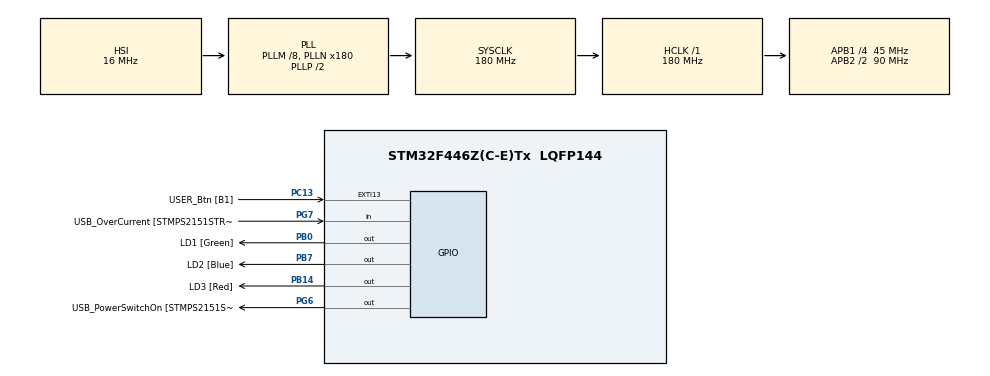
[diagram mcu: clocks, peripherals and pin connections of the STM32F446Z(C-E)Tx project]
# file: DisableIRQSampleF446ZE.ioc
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Mcu.Family=STM32F4
Mcu.Name=STM32F446Z(C-E)Tx
Mcu.Package=LQFP144
NVIC.EXTI15_10_IRQn=true\:1\:0\:true\:false\:true\:true\:true
NVIC.PriorityGroup=NVIC_PRIORITYGROUP_4
NVIC.TIM2_IRQn=true\:2\:0\:true\:false\:true\:true\:true
PA10.GPIO_Label=USB_ID
PA10.Signal=USB_OTG_FS_ID
PA11.GPIO_Label=USB_DM
PA11.Signal=USB_OTG_FS_DM
PA12.GPIO_Label=USB_DP
PA12.Signal=USB_OTG_FS_DP
PA13.GPIO_Label=TMS
PA13.Signal=SYS_JTMS-SWDIO
PA14.GPIO_Label=TCK
PA14.Signal=SYS_JTCK-SWCLK
PA8.GPIO_Label=USB_SOF [TP1]
PA8.Signal=USB_OTG_FS_SOF
PA9.GPIO_Label=USB_VBUS
PA9.Signal=USB_OTG_FS_VBUS
PB0.GPIO_Label=LD1 [Green]
PB0.Signal=GPIO_Output
PB14.GPIO_Label=LD3 [Red]
PB14.Signal=GPIO_Output
PB7.GPIO_Label=LD2 [Blue]
PB7.Signal=GPIO_Output
PC13.GPIO_Label=USER_Btn [B1]
PC13.Signal=GPXTI13
PC14-OSC32_IN.Signal=RCC_OSC32_IN
PC15-OSC32_OUT.Signal=RCC_OSC32_OUT
PD8.GPIO_Label=STLK_RX [STM32F103CBT6_PA3]
PD8.Signal=USART3_TX
PD9.GPIO_Label=STLK_TX [STM32F103CBT6_PA2]
PD9.Signal=USART3_RX
PG6.GPIO_Label=USB_PowerSwitchOn [STMPS2151STR_EN]
PG6.Signal=GPIO_Output
PG7.GPIO_Label=USB_OverCurrent [STMPS2151STR_FAULT]
PG7.Signal=GPIO_Input
PH0-OSC_IN.GPIO_Label=MCO [STM32F103CBT6_PA8]
PH0-OSC_IN.Signal=RCC_OSC_IN
PH1-OSC_OUT.Signal=RCC_OSC_OUT
ProjectManager.HeapSize=0x200
ProjectManager.StackSize=0x400
ProjectManager.TargetToolchain=STM32CubeIDE
RCC.48MHZClocksFreq_Value=24000000
RCC.AHBFreq_Value=180000000
RCC.APB1CLKDivider=RCC_HCLK_DIV4
RCC.APB1Freq_Value=45000000
RCC.APB1TimFreq_Value=90000000
RCC.APB2CLKDivider=RCC_HCLK_DIV2
RCC.APB2Freq_Value=90000000
RCC.APB2TimFreq_Value=180000000
RCC.CortexFreq_Value=180000000
RCC.HCLKFreq_Value=180000000
RCC.HSE_VALUE=8000000
RCC.HSI_VALUE=16000000
RCC.LSE_VALUE=32768
RCC.PLLM=8
RCC.PLLMUL=RCC_PLL_MUL9
RCC.PLLN=180
RCC.PRESCALERUSB=RCC_USBCLKSOURCE_PLL_DIV1_5
RCC.SYSCLKFreq_VALUE=180000000
RCC.SYSCLKSource=RCC_SYSCLKSOURCE_PLLCLK
RCC.SYSCLKSourceVirtual=RCC_SYSCLKSOURCE_PLLCLK
RCC.USBFreq_Value=180000000
RCC.VCOOutputFreq_Value=360000000
TIM2.AutoReloadPreload=TIM_AUTORELOAD_PRELOAD_ENABLE
TIM2.Period=19999
TIM2.Prescaler=44999
VP_TIM2_VS_ClockSourceINT.Mode=Internal
board=NUCLEO-F446ZE

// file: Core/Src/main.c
/* USER CODE BEGIN Header */
/**
  ******************************************************************************
  * @file           : main.c
  * @brief          : Main program body
  ******************************************************************************
  * @attention
  *
  * <h2><center>&copy; Copyright (c) 2019 STMicroelectronics.
  * All rights reserved.</center></h2>
  *
  * This software component is licensed by ST under BSD 3-Clause license,
  * the "License"; You may not use this file except in compliance with the
  * License. You may obtain a copy of the License at:
  *                        opensource.org/licenses/BSD-3-Clause
  *
  ******************************************************************************
  */
/* USER CODE END Header */

#include "main.h"

TIM_HandleTypeDef htim2;

void SystemClock_Config(void);
static void MX_GPIO_Init(void);
static void MX_TIM2_Init(void);

/* USER CODE BEGIN 0 */
__IO uint8_t Pushed;
/* USER CODE END 0 */

int main(void)
{

  /* MCU Configuration--------------------------------------------------------*/

  /* Reset of all peripherals, Initializes the Flash interface and the Systick. */
  HAL_Init();

  /* Configure the system clock */
  SystemClock_Config();

  /* Initialize all configured peripherals */
  MX_GPIO_Init();
  MX_TIM2_Init();
  /* USER CODE BEGIN 2 */
  TIM2->EGR |= TIM_EGR_UG;
  __HAL_TIM_CLEAR_IT(&htim2, TIM_IT_UPDATE);
  /* USER CODE END 2 */

  /* Infinite loop */
  while (1)
  {

    /* USER CODE BEGIN 3 */
	  Pushed = 0;
	  while (Pushed == 0)
		  ;
	  HAL_GPIO_TogglePin(GPIOB, GPIO_PIN_14);
  }
  /* USER CODE END 3 */
}

void SystemClock_Config(void)
{
  RCC_OscInitTypeDef RCC_OscInitStruct = {0};
  RCC_ClkInitTypeDef RCC_ClkInitStruct = {0};

  /** Configure the main internal regulator output voltage
  */
  __HAL_RCC_PWR_CLK_ENABLE();
  __HAL_PWR_VOLTAGESCALING_CONFIG(PWR_REGULATOR_VOLTAGE_SCALE1);
  /** Initializes the CPU, AHB and APB busses clocks
  */
  RCC_OscInitStruct.OscillatorType = RCC_OSCILLATORTYPE_HSI;
  RCC_OscInitStruct.HSIState = RCC_HSI_ON;
  RCC_OscInitStruct.HSICalibrationValue = RCC_HSICALIBRATION_DEFAULT;
  RCC_OscInitStruct.PLL.PLLState = RCC_PLL_ON;
  RCC_OscInitStruct.PLL.PLLSource = RCC_PLLSOURCE_HSI;
  RCC_OscInitStruct.PLL.PLLM = 8;
  RCC_OscInitStruct.PLL.PLLN = 180;
  RCC_OscInitStruct.PLL.PLLP = RCC_PLLP_DIV2;
  RCC_OscInitStruct.PLL.PLLQ = 2;
  RCC_OscInitStruct.PLL.PLLR = 2;
  if (HAL_RCC_OscConfig(&RCC_OscInitStruct) != HAL_OK)
  {
    Error_Handler();
  }
  /** Activate the Over-Drive mode
  */
  if (HAL_PWREx_EnableOverDrive() != HAL_OK)
  {
    Error_Handler();
  }
  /** Initializes the CPU, AHB and APB busses clocks
  */
  RCC_ClkInitStruct.ClockType = RCC_CLOCKTYPE_HCLK|RCC_CLOCKTYPE_SYSCLK
                              |RCC_CLOCKTYPE_PCLK1|RCC_CLOCKTYPE_PCLK2;
  RCC_ClkInitStruct.SYSCLKSource = RCC_SYSCLKSOURCE_PLLCLK;
  RCC_ClkInitStruct.AHBCLKDivider = RCC_SYSCLK_DIV1;
  RCC_ClkInitStruct.APB1CLKDivider = RCC_HCLK_DIV4;
  RCC_ClkInitStruct.APB2CLKDivider = RCC_HCLK_DIV2;

  if (HAL_RCC_ClockConfig(&RCC_ClkInitStruct, FLASH_LATENCY_5) != HAL_OK)
  {
    Error_Handler();
  }
}

static void MX_TIM2_Init(void)
{

  TIM_ClockConfigTypeDef sClockSourceConfig = {0};
  TIM_MasterConfigTypeDef sMasterConfig = {0};

  htim2.Instance = TIM2;
  htim2.Init.Prescaler = 44999;
  htim2.Init.CounterMode = TIM_COUNTERMODE_UP;
  htim2.Init.Period = 19999;
  htim2.Init.ClockDivision = TIM_CLOCKDIVISION_DIV1;
  htim2.Init.AutoReloadPreload = TIM_AUTORELOAD_PRELOAD_ENABLE;
  if (HAL_TIM_Base_Init(&htim2) != HAL_OK)
  {
    Error_Handler();
  }
  sClockSourceConfig.ClockSource = TIM_CLOCKSOURCE_INTERNAL;
  if (HAL_TIM_ConfigClockSource(&htim2, &sClockSourceConfig) != HAL_OK)
  {
    Error_Handler();
  }
  sMasterConfig.MasterOutputTrigger = TIM_TRGO_RESET;
  sMasterConfig.MasterSlaveMode = TIM_MASTERSLAVEMODE_DISABLE;
  if (HAL_TIMEx_MasterConfigSynchronization(&htim2, &sMasterConfig) != HAL_OK)
  {
    Error_Handler();
  }

}

static void MX_GPIO_Init(void)
{
  GPIO_InitTypeDef GPIO_InitStruct = {0};

  /* GPIO Ports Clock Enable */
  __HAL_RCC_GPIOC_CLK_ENABLE();
  __HAL_RCC_GPIOH_CLK_ENABLE();
  __HAL_RCC_GPIOB_CLK_ENABLE();
  __HAL_RCC_GPIOD_CLK_ENABLE();
  __HAL_RCC_GPIOG_CLK_ENABLE();
  __HAL_RCC_GPIOA_CLK_ENABLE();

  /*Configure GPIO pin Output Level */
  HAL_GPIO_WritePin(GPIOB, LD1_Pin|LD3_Pin|LD2_Pin, GPIO_PIN_RESET);

  /*Configure GPIO pin Output Level */
  HAL_GPIO_WritePin(USB_PowerSwitchOn_GPIO_Port, USB_PowerSwitchOn_Pin, GPIO_PIN_RESET);

  /*Configure GPIO pin : USER_Btn_Pin */
  GPIO_InitStruct.Pin = USER_Btn_Pin;
  GPIO_InitStruct.Mode = GPIO_MODE_IT_RISING;
  GPIO_InitStruct.Pull = GPIO_NOPULL;
  HAL_GPIO_Init(USER_Btn_GPIO_Port, &GPIO_InitStruct);

  /*Configure GPIO pins : LD1_Pin LD3_Pin LD2_Pin */
  GPIO_InitStruct.Pin = LD1_Pin|LD3_Pin|LD2_Pin;
  GPIO_InitStruct.Mode = GPIO_MODE_OUTPUT_PP;
  GPIO_InitStruct.Pull = GPIO_NOPULL;
  GPIO_InitStruct.Speed = GPIO_SPEED_FREQ_LOW;
  HAL_GPIO_Init(GPIOB, &GPIO_InitStruct);

  /*Configure GPIO pins : STLK_RX_Pin STLK_TX_Pin */
  GPIO_InitStruct.Pin = STLK_RX_Pin|STLK_TX_Pin;
  GPIO_InitStruct.Mode = GPIO_MODE_AF_PP;
  GPIO_InitStruct.Pull = GPIO_NOPULL;
  GPIO_InitStruct.Speed = GPIO_SPEED_FREQ_VERY_HIGH;
  GPIO_InitStruct.Alternate = GPIO_AF7_USART3;
  HAL_GPIO_Init(GPIOD, &GPIO_InitStruct);

  /*Configure GPIO pin : USB_PowerSwitchOn_Pin */
  GPIO_InitStruct.Pin = USB_PowerSwitchOn_Pin;
  GPIO_InitStruct.Mode = GPIO_MODE_OUTPUT_PP;
  GPIO_InitStruct.Pull = GPIO_NOPULL;
  GPIO_InitStruct.Speed = GPIO_SPEED_FREQ_LOW;
  HAL_GPIO_Init(USB_PowerSwitchOn_GPIO_Port, &GPIO_InitStruct);

  /*Configure GPIO pin : USB_OverCurrent_Pin */
  GPIO_InitStruct.Pin = USB_OverCurrent_Pin;
  GPIO_InitStruct.Mode = GPIO_MODE_INPUT;
  GPIO_InitStruct.Pull = GPIO_NOPULL;
  HAL_GPIO_Init(USB_OverCurrent_GPIO_Port, &GPIO_InitStruct);

  /*Configure GPIO pins : USB_SOF_Pin USB_ID_Pin USB_DM_Pin USB_DP_Pin */
  GPIO_InitStruct.Pin = USB_SOF_Pin|USB_ID_Pin|USB_DM_Pin|USB_DP_Pin;
  GPIO_InitStruct.Mode = GPIO_MODE_AF_PP;
  GPIO_InitStruct.Pull = GPIO_NOPULL;
  GPIO_InitStruct.Speed = GPIO_SPEED_FREQ_VERY_HIGH;
  GPIO_InitStruct.Alternate = GPIO_AF10_OTG_FS;
  HAL_GPIO_Init(GPIOA, &GPIO_InitStruct);

  /*Configure GPIO pin : USB_VBUS_Pin */
  GPIO_InitStruct.Pin = USB_VBUS_Pin;
  GPIO_InitStruct.Mode = GPIO_MODE_INPUT;
  GPIO_InitStruct.Pull = GPIO_NOPULL;
  HAL_GPIO_Init(USB_VBUS_GPIO_Port, &GPIO_InitStruct);

  /* EXTI interrupt init*/
  HAL_NVIC_SetPriority(EXTI15_10_IRQn, 1, 0);
  HAL_NVIC_EnableIRQ(EXTI15_10_IRQn);

}

/* USER CODE BEGIN 4 */
void HAL_GPIO_EXTI_Callback(uint16_t GPIO_Pin)
{
	Pushed = 1;
	HAL_NVIC_DisableIRQ(EXTI15_10_IRQn);
	HAL_TIM_Base_Start_IT(&htim2);
}
void HAL_TIM_PeriodElapsedCallback(TIM_HandleTypeDef *htim)
{
	HAL_TIM_Base_Stop_IT(&htim2);
	// Clear Pending IRQ
    __HAL_GPIO_EXTI_CLEAR_IT(GPIO_PIN_13);
	HAL_NVIC_EnableIRQ(EXTI15_10_IRQn);
}
/* USER CODE END 4 */

void Error_Handler(void)
{
}

/************************ (C) COPYRIGHT STMicroelectronics *****END OF FILE****/
